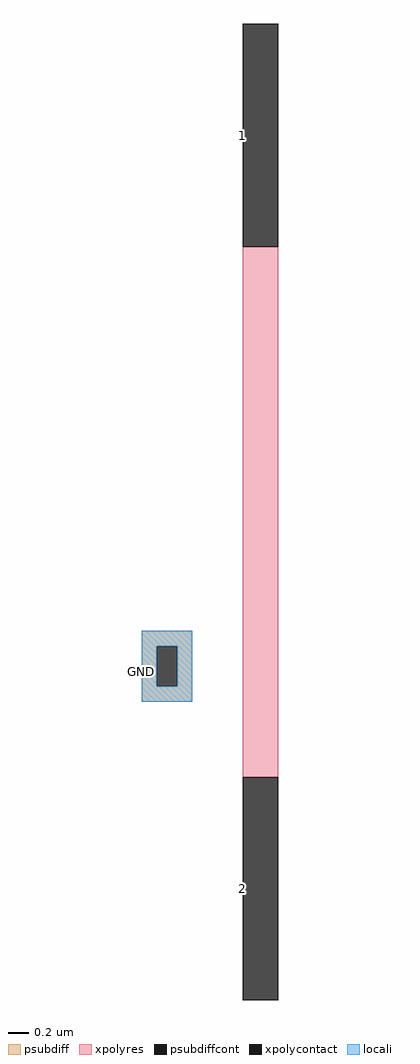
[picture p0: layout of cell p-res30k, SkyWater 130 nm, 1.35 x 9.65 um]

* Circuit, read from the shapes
.subckt p-res30k 1 2 GND
XR1 1 2 GND sky130_fd_pr__res_xhigh_po w=0.35 l=5.25
.ends

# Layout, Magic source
magic
tech sky130A
<< psubdiff >>
rect -100 -45 -50 -30
rect -100 -85 -85 -45
rect -65 -85 -50 -45
rect -100 -100 -50 -85
<< psubdiffcont >>
rect -85 -85 -65 -45
<< xpolycontact >>
rect 0 350 35 570
rect 0 -395 35 -175
<< xpolyres >>
rect 0 -175 35 350
<< locali >>
rect -100 -45 -50 -30
rect -100 -85 -85 -45
rect -65 -85 -50 -45
rect -100 -100 -50 -85
<< labels >>
rlabel xpolycontact 0 460 0 460 7 1
rlabel xpolycontact 0 -285 0 -285 7 2
rlabel locali -100 -70 -100 -70 7 GND
<< end >>
